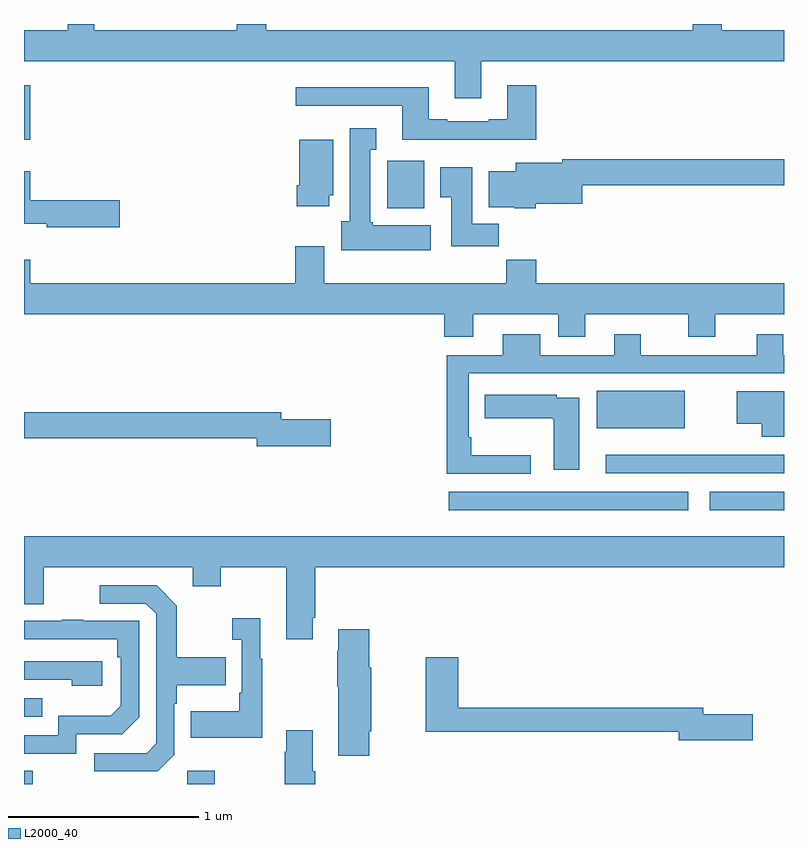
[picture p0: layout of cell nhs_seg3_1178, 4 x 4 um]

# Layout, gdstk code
import gdstk
lib = gdstk.Library(unit=1e-6, precision=1e-09)
def R(c, l, rs):  # rectangles x0, y0, x1, y1
    for r in rs: c.add(gdstk.rectangle(r[:2], r[2:], *l))
def P(c, l, *ps):  # polygons
    for p in ps: c.add(gdstk.Polygon(p, *l))
L2000_40 = (2000, 40)

nhs_seg3_1178 = lib.new_cell('nhs_seg3_1178')
R(nhs_seg3_1178, L2000_40, [(171,742.4,171.045,742.471), (171.858,742.4,172.005,742.471), (171,742.755,171.095,742.851), (173.235,743.84,174.496,743.937), (174.609,743.84,175,743.937), (174.014,744.272,174.478,744.469), (172.911,745.43,173.107,745.68), (171,745.79,171.032,746.077)])
P(nhs_seg3_1178, L2000_40, [(173.407,746.204),(175,746.204),(175,746.368),(174.673,746.368),(174.673,746.4),(174.521,746.4),(174.521,746.368),(172.274,746.368),(172.274,746.4),(172.121,746.4),(172.121,746.368),(171.369,746.368),(171.369,746.4),(171.231,746.4),(171.231,746.368),(171,746.368),(171,746.204),(173.267,746.204),(173.267,746.01),(173.407,746.01)],
  [(173.696,746.077),(173.543,746.077),(173.543,745.9),(173.447,745.9),(173.447,745.887),(173.227,745.887),(173.227,745.9),(173.131,745.9),(173.131,746.068),(172.431,746.068),(172.431,745.971),(172.991,745.971),(172.991,745.79),(173.696,745.79)],
  [(173.14,745.342),(172.836,745.342),(172.836,745.356),(172.822,745.356),(172.822,745.739),(172.855,745.739),(172.855,745.852),(172.715,745.852),(172.715,745.362),(172.67,745.362),(172.67,745.208),(173.14,745.208)],
  [(172.606,745.5),(172.627,745.5),(172.627,745.792),(172.448,745.792),(172.448,745.552),(172.436,745.552),(172.436,745.44),(172.606,745.44)],
  [(173.694,745.454),(173.938,745.454),(173.938,745.552),(175,745.552),(175,745.688),(173.834,745.688),(173.834,745.669),(173.588,745.669),(173.588,745.624),(173.447,745.624),(173.447,745.436),(173.58,745.436),(173.58,745.43),(173.694,745.43)],
  [(173.498,745.348),(173.359,745.348),(173.359,745.645),(173.192,745.645),(173.192,745.489),(173.249,745.489),(173.249,745.23),(173.498,745.23)],
  [(171.505,745.472),(171.034,745.472),(171.034,745.624),(171,745.624),(171,745.349),(171.12,745.349),(171.12,745.33),(171.505,745.33)],
  [(173.365,744.872),(173.813,744.872),(173.813,744.755),(173.953,744.755),(173.953,744.872),(174.497,744.872),(174.497,744.755),(174.637,744.755),(174.637,744.872),(175,744.872),(175,745.036),(173.696,745.036),(173.696,745.16),(173.539,745.16),(173.539,745.036),(172.579,745.036),(172.579,745.231),(172.427,745.231),(172.427,745.036),(171.032,745.036),(171.032,745.16),(171,745.16),(171,744.872),(173.213,744.872),(173.213,744.755),(173.365,744.755)],
  [(173.668,744.131),(173.353,744.131),(173.353,744.226),(173.34,744.226),(173.34,744.561),(175,744.561),(175,744.657),(174.997,744.657),(174.997,744.766),(174.857,744.766),(174.857,744.657),(174.247,744.657),(174.247,744.766),(174.107,744.766),(174.107,744.657),(173.716,744.657),(173.716,744.766),(173.519,744.766),(173.519,744.657),(173.224,744.657),(173.224,744.033),(173.668,744.033)],
  [(175,744.466),(174.752,744.466),(174.752,744.296),(174.883,744.296),(174.883,744.227),(175,744.227)],
  [(173.923,744.433),(173.805,744.433),(173.805,744.448),(173.425,744.448),(173.425,744.326),(173.782,744.326),(173.782,744.319),(173.789,744.319),(173.789,744.054),(173.923,744.054)],
  [(172.615,744.32),(172.354,744.32),(172.354,744.356),(171,744.356),(171,744.22),(172.226,744.22),(172.226,744.178),(172.615,744.178)],
  [(175,744.132),(174.756,744.132),(174.756,744.133),(174.063,744.133),(174.063,744.036),(175,744.036)],
  [(172.519,743.275),(172.532,743.275),(172.532,743.54),(175,743.54),(175,743.704),(171,743.704),(171,743.346),(171.103,743.346),(171.103,743.54),(171.887,743.54),(171.887,743.441),(172.035,743.441),(172.035,743.54),(172.379,743.54),(172.379,743.163),(172.519,743.163)],
  [(171.792,742.554),(171.792,742.823),(171.805,742.823),(171.805,742.919),(172.061,742.919),(172.061,743.067),(171.805,743.067),(171.805,743.339),(171.699,743.445),(171.399,743.445),(171.399,743.349),(171.642,743.349),(171.696,743.295),(171.696,742.614),(171.645,742.563),(171.369,742.563),(171.369,742.467),(171.705,742.467)],
  [(172.255,743.059),(172.243,743.059),(172.243,743.272),(172.095,743.272),(172.095,743.159),(172.146,743.159),(172.146,742.879),(172.134,742.879),(172.134,742.783),(171.877,742.783),(171.877,742.643),(172.255,742.643)],
  [(171.276,742.662),(171.516,742.662),(171.606,742.752),(171.606,743.259),(171.311,743.259),(171.311,743.264),(171.199,743.264),(171.199,743.259),(171,743.259),(171,743.163),(171.49,743.163),(171.49,743.066),(171.51,743.066),(171.51,742.812),(171.457,742.759),(171.18,742.759),(171.18,742.656),(171,742.656),(171,742.56),(171.276,742.56)],
  [(172.818,742.677),(172.828,742.677),(172.828,743.013),(172.818,743.013),(172.818,743.215),(172.655,743.215),(172.655,743.102),(172.648,743.102),(172.648,742.913),(172.655,742.913),(172.655,742.548),(172.818,742.548)],
  [(174.835,742.766),(174.574,742.766),(174.574,742.802),(173.285,742.802),(173.285,743.068),(173.114,743.068),(173.114,742.674),(174.446,742.674),(174.446,742.631),(174.835,742.631)],
  [(171.412,743.046),(171,743.046),(171,742.95),(171.251,742.95),(171.251,742.916),(171.412,742.916)],
  [(172.532,742.468),(172.519,742.468),(172.519,742.684),(172.379,742.684),(172.379,742.571),(172.372,742.571),(172.372,742.4),(172.532,742.4)])

lib.write_gds('nhs_seg3_1178.gds')
